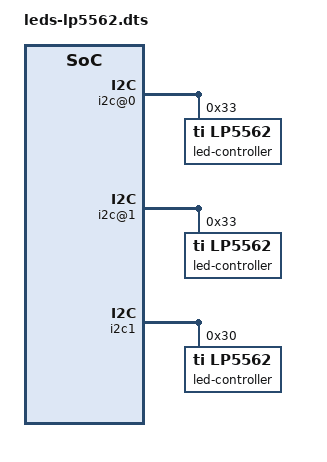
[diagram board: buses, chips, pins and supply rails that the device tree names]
/dts-v1/;
/plugin/;

/ {
    fragment@0 {
        target-path = "/soc/i2c@7e804000/mux@70/i2c@0"; // Targeting i2c channel 1 on pca954x

        __overlay__ {
            led-controller@33 {
                #address-cells = <1>;
                #size-cells = <0>;
                compatible = "ti,lp5562";
                reg = <0x33>;
                clock-mode = <0>;
                pwr-sel = <3>;    /* D1~9 connected to VOUT */

                led@0 {
                    reg = <0>;
                    chan-name = "front_red_0";
                    led-cur = /bits/ 8 <0x32>;
                    max-cur = /bits/ 8 <0xC8>;
                    color = <0>; // 0 red, 1 green, 2 blue
                };

                led@1 {
                    reg = <1>;
                    chan-name = "front_green_0";
                    led-cur = /bits/ 8 <0x32>;
                    max-cur = /bits/ 8 <0xC8>;
                    color = <1>; // 0 red, 1 green, 2 blue
                };

                led@2 {
                    reg = <2>;
                    chan-name = "front_blue_0";
                    led-cur = /bits/ 8 <0x32>;
                    max-cur = /bits/ 8 <0xC8>;
                    color = <2>; // 0 red, 1 green, 2 blue
                };
            };
        };
    };

    fragment@1 {
        target-path = "/soc/i2c@7e804000/mux@70/i2c@1"; // Targeting i2c@1

        __overlay__ {
            led-controller@33 {
                #address-cells = <1>;
                #size-cells = <0>;
                compatible = "ti,lp5562";
                reg = <0x33>;
                clock-mode = <0>;
                pwr-sel = <3>;    /* D1~9 connected to VOUT */

                led@0 {
                    reg = <0>;
                    chan-name = "front_red_1";
                    led-cur = /bits/ 8 <0x32>;
                    max-cur = /bits/ 8 <0xC8>;
                    color = <0>; // 0 red, 1 green, 2 blue
                };

                led@1 {
                    reg = <1>;
                    chan-name = "front_green_1";
                    led-cur = /bits/ 8 <0x32>;
                    max-cur = /bits/ 8 <0xC8>;
                    color = <1>; // 0 red, 1 green, 2 blue
                };

                led@2 {
                    reg = <2>;
                    chan-name = "front_blue_1";
                    led-cur = /bits/ 8 <0x32>;
                    max-cur = /bits/ 8 <0xC8>;
                    color = <2>; // 0 red, 1 green, 2 blue
                };
            };
        };
    };

    fragment@2 {
        target = <&i2c1>; // Targeting i2c1

        __overlay__ {
            led-controller@30 {
                #address-cells = <1>;
                #size-cells = <0>;
                compatible = "ti,lp5562";
                reg = <0x30>;
                clock-mode = <0>;
                pwr-sel = <3>;    /* D1~9 connected to VOUT */

                led@0 {
                    reg = <0>;
                    chan-name = "red_0";
                    led-cur = /bits/ 8 <0x32>;
                    max-cur = /bits/ 8 <0xC8>;
                    color = <0>; // 0 red, 1 green, 2 blue
                };

                led@1 {
                    reg = <1>;
                    chan-name = "green_0";
                    led-cur = /bits/ 8 <0x32>;
                    max-cur = /bits/ 8 <0xC8>;
                    color = <1>; // 0 red, 1 green, 2 blue
                };

                led@2 {
                    reg = <2>;
                    chan-name = "blue_0";
                    led-cur = /bits/ 8 <0x32>;
                    max-cur = /bits/ 8 <0xC8>;
                    color = <2>; // 0 red, 1 green, 2 blue
                };
            };
        };
    };
};
